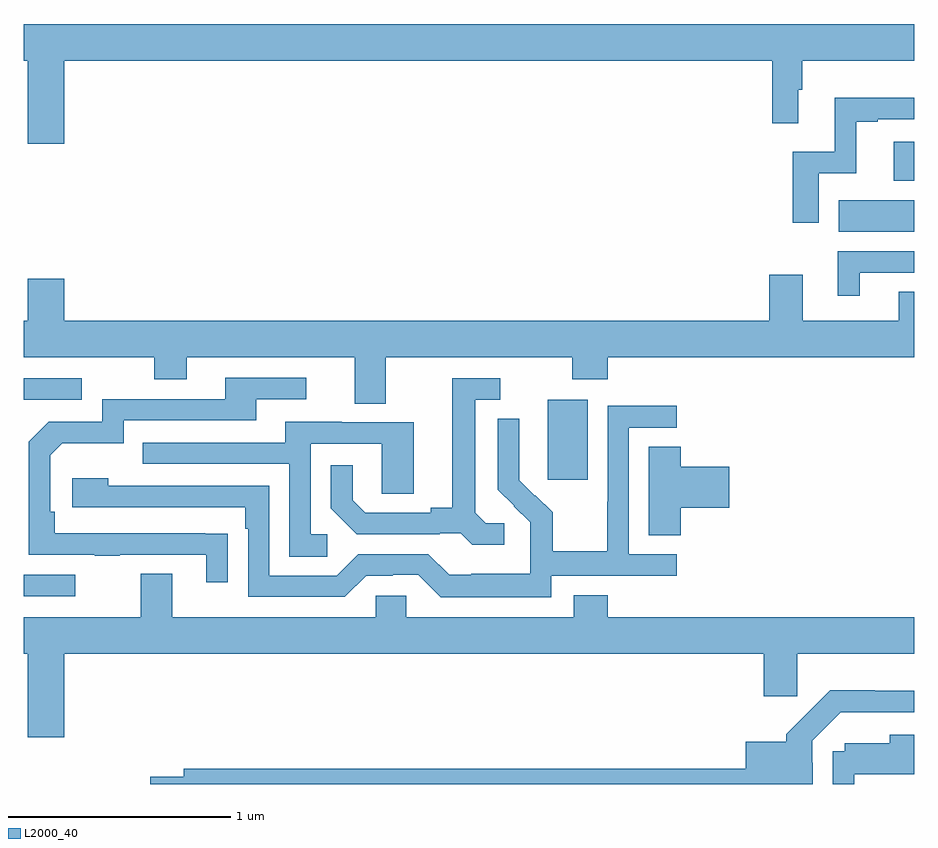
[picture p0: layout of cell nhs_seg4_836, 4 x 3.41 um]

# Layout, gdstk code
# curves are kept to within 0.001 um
import gdstk
lib = gdstk.Library(unit=1e-6, precision=1e-09)
def R(c, l, rs):  # rectangles x0, y0, x1, y1
    for r in rs: c.add(gdstk.rectangle(r[:2], r[2:], *l))
def P(c, l, *ps):  # polygons
    for p in ps: c.add(gdstk.Polygon(p, *l))
L2000_40 = (2000, 40)

nhs_seg4_836 = lib.new_cell('nhs_seg4_836')
R(nhs_seg4_836, L2000_40, [(153,799.743,153.232,799.839), (155.354,800.265,155.533,800.626), (153,800.625,153.262,800.721), (156.66,801.38,157,801.52), (156.908,801.608,157,801.784)])
P(nhs_seg4_836, L2000_40, [(153.184,802.148),(156.361,802.148),(156.361,801.867),(156.478,801.867),(156.478,802.016),(156.497,802.016),(156.497,802.148),(157,802.148),(157,802.312),(153,802.312),(153,802.148),(153.02,802.148),(153.02,801.774),(153.184,801.774)],
  [(156.57,801.642),(156.739,801.642),(156.739,801.873),(156.835,801.873),(156.835,801.885),(157,801.885),(157,801.982),(156.641,801.982),(156.641,801.738),(156.454,801.738),(156.454,801.42),(156.57,801.42)],
  [(156.754,801.195),(157,801.195),(157,801.291),(156.656,801.291),(156.656,801.093),(156.754,801.093)],
  [(154.627,800.816),(155.464,800.816),(155.464,800.717),(155.624,800.717),(155.624,800.816),(157,800.816),(157,801.11),(156.929,801.11),(156.929,800.98),(156.499,800.98),(156.499,801.187),(156.347,801.187),(156.347,800.98),(153.184,800.98),(153.184,801.169),(153.02,801.169),(153.02,800.98),(153,800.98),(153,800.816),(153.586,800.816),(153.586,800.717),(153.733,800.717),(153.733,800.816),(154.487,800.816),(154.487,800.608),(154.627,800.608)],
  [(153.917,800.024),(153.14,800.025),(153.14,800.122),(153.12,800.122),(153.12,800.376),(153.173,800.429),(153.45,800.429),(153.45,800.532),(154.045,800.532),(154.045,800.628),(154.27,800.628),(154.27,800.724),(153.905,800.724),(153.905,800.628),(153.354,800.628),(153.354,800.526),(153.114,800.526),(153.024,800.436),(153.024,799.929),(153.319,799.929),(153.319,799.924),(153.431,799.924),(153.431,799.929),(153.821,799.929),(153.821,799.806),(153.917,799.806)],
  [(155.158,800.07),(155.076,800.07),(155.029,800.117),(155.029,800.625),(155.14,800.625),(155.14,800.721),(154.925,800.721),(154.925,800.141),(154.829,800.141),(154.829,800.118),(154.534,800.118),(154.477,800.175),(154.477,800.332),(154.38,800.332),(154.38,800.138),(154.496,800.022),(154.868,800.022),(154.868,800.025),(154.962,800.025),(155.014,799.973),(155.158,799.973)],
  [(155.37,799.836),(155.932,799.836),(155.932,799.932),(155.718,799.932),(155.718,800.499),(155.932,800.499),(155.932,800.598),(155.622,800.598),(155.622,800.168),(155.62,800.168),(155.62,799.945),(155.375,799.945),(155.375,800.119),(155.298,800.196),(155.295,800.193),(155.225,800.264),(155.226,800.54),(155.13,800.54),(155.13,800.222),(155.276,800.074),(155.276,799.977),(155.274,799.977),(155.274,799.843),(155.011,799.843),(155.011,799.839),(154.911,799.839),(154.818,799.932),(154.503,799.932),(154.407,799.836),(154.104,799.836),(154.104,800.238),(153.38,800.238),(153.38,800.272),(153.219,800.272),(153.219,800.142),(153.995,800.142),(153.995,800.045),(154.008,800.045),(154.008,799.74),(154.443,799.74),(154.539,799.836),(154.658,799.836),(154.658,799.839),(154.773,799.839),(154.873,799.739),(155.37,799.739)],
  [(154.363,800.022),(154.29,800.022),(154.29,800.427),(154.608,800.427),(154.608,800.203),(154.753,800.203),(154.753,800.523),(154.429,800.523),(154.429,800.527),(154.175,800.527),(154.175,800.433),(153.535,800.433),(153.535,800.337),(154.194,800.337),(154.194,799.921),(154.363,799.921)],
  [(155.951,800.141),(156.169,800.141),(156.169,800.324),(155.951,800.324),(155.951,800.414),(155.807,800.414),(155.807,800.017),(155.951,800.017)],
  [(153.184,799.484),(156.323,799.484),(156.323,799.293),(156.473,799.293),(156.473,799.484),(157,799.484),(157,799.648),(155.624,799.648),(155.624,799.747),(155.471,799.747),(155.471,799.648),(154.719,799.648),(154.719,799.746),(154.581,799.746),(154.581,799.648),(153.667,799.648),(153.667,799.843),(153.527,799.843),(153.527,799.648),(153,799.648),(153,799.484),(153.02,799.484),(153.02,799.11),(153.184,799.11)],
  [(156.544,798.995),(156.54,798.995),(156.54,799.095),(156.668,799.223),(156.769,799.223),(156.769,799.221),(157,799.221),(157,799.318),(156.821,799.318),(156.821,799.321),(156.622,799.321),(156.425,799.123),(156.425,799.09),(156.242,799.09),(156.242,798.968),(153.719,798.968),(153.719,798.932),(153.57,798.932),(153.57,798.9),(156.544,798.9)],
  [(156.729,798.944),(157,798.944),(157,799.12),(156.89,799.12),(156.89,799.084),(156.687,799.084),(156.687,799.047),(156.633,799.047),(156.633,798.9),(156.729,798.9)])

lib.write_gds('nhs_seg4_836.gds')
